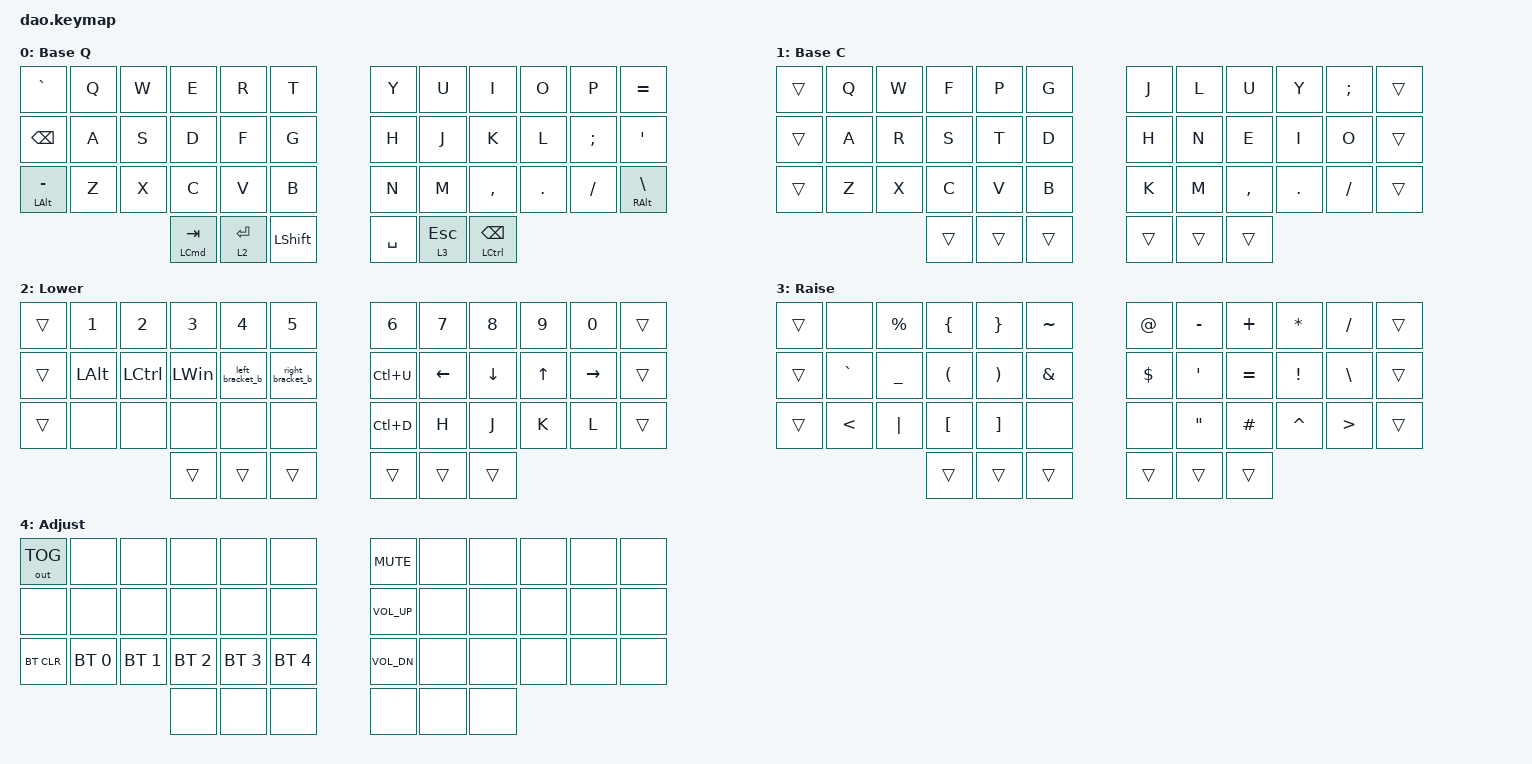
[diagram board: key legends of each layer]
/*
 * Copyright (c) 2020 The ZMK Contributors
 *
 * SPDX-License-Identifier: MIT
 */

#include <behaviors.dtsi>
#include <dt-bindings/zmk/bt.h>
#include <dt-bindings/zmk/keys.h>
#include <dt-bindings/zmk/outputs.h>

&lt {
    tapping-term-ms = <150>;
    flavor = "hold-preferred";
};

&mt {
    quick-tap-ms = <200>;
    tapping-term-ms = <150>;
};

/ {
    combos {
        compatible = "zmk,combos";

        gotoadjust {
            bindings = <&tog 4>;
            key-positions = <11 23 35>;
        };

        change_lang {
            bindings = <&change_lang>;
            key-positions = <0 12 24>;
        };
    };

    macros {
        left_bracket_b: lb {
            compatible = "zmk,behavior-macro";
            #binding-cells = <0>;
            bindings = <&kp LEFT_BRACKET &kp B>;
            label = "LB";
        };

        right_bracket_b: rb {
            compatible = "zmk,behavior-macro";
            #binding-cells = <0>;
            bindings = <&kp RIGHT_BRACKET &kp B>;
            label = "RB";
        };

        change_lang: change_lang {
            compatible = "zmk,behavior-macro";
            #binding-cells = <0>;
            bindings = <&kp LC(SPACE) &tog 1>;
            label = "CHANGE_LANG";
        };
    };

    keymap {
        compatible = "zmk,keymap";

        default_layer {
            // -----------------------------------------------------------------------------------------
            // |  TAB |  Q  |  W  |  E  |  R  |  T  |   |  Y  |  U   |  I  |  O  |  P  | BKSP |
            // | CTRL |  A  |  S  |  D  |  F  |  G  |   |  H  |  J   |  K  |  L  |  ;  |  '   |
            // | SHFT |  Z  |  X  |  C  |  V  |  B  |   |  N  |  M   |  ,  |  .  |  /  | ESC  |
            //                    | GUI | LWR | SPC |   | ENT | RSE  | ALT |

            display-name = "Base Q";
            bindings = <
&kp GRAVE           &kp Q  &kp W  &kp E                 &kp R        &kp T             &kp Y      &kp U      &kp I                       &kp O    &kp P      &kp EQUAL
&kp BACKSPACE       &kp A  &kp S  &kp D                 &kp F        &kp G             &kp H      &kp J      &kp K                       &kp L    &kp SEMI   &kp SQT
&mt LEFT_ALT MINUS  &kp Z  &kp X  &kp C                 &kp V        &kp B             &kp N      &kp M      &kp COMMA                   &kp DOT  &kp SLASH  &mt RIGHT_ALT BSLH
                                  &mt LEFT_COMMAND TAB  &lt 2 ENTER  &kp LEFT_SHIFT    &kp SPACE  &lt 3 ESC  &mt LEFT_CONTROL BACKSPACE
            >;
        };

        colemak {
            bindings = <
&trans  &kp Q  &kp W  &kp F   &kp P   &kp G     &kp J   &kp L   &kp U      &kp Y    &kp SEMI  &trans
&trans  &kp A  &kp R  &kp S   &kp T   &kp D     &kp H   &kp N   &kp E      &kp I    &kp O     &trans
&trans  &kp Z  &kp X  &kp C   &kp V   &kp B     &kp K   &kp M   &kp COMMA  &kp DOT  &kp FSLH  &trans
                      &trans  &trans  &trans    &trans  &trans  &trans
            >;

            label = "Base C";
        };

        lower_layer {
            // -----------------------------------------------------------------------------------------
            // |  TAB |  1  |  2  |  3  |  4  |  5  |   |  6  |  7  |  8  |  9  |  0  | BKSP |
            // | BTCLR| BT1 | BT2 | BT3 | BT4 | BT5 |   | LFT | DWN |  UP | RGT |     |      |
            // | SHFT |     |     |     |     |     |   |     |     |     |     |     |      |
            //                    | GUI |     | SPC |   | ENT |     | ALT |

            display-name = "Lower";
            bindings = <
&trans  &kp N1        &kp N2            &kp N3        &kp N4           &kp N5              &kp N6     &kp N7    &kp N8          &kp N9        &kp N0           &trans
&trans  &kp LEFT_ALT  &kp LEFT_CONTROL  &kp LEFT_WIN  &left_bracket_b  &right_bracket_b    &kp LC(U)  &kp LEFT  &kp DOWN_ARROW  &kp UP_ARROW  &kp RIGHT_ARROW  &trans
&trans  &none         &none             &none         &none            &none               &kp LC(D)  &kp H     &kp J           &kp K         &kp L            &trans
                                        &trans        &trans           &trans              &trans     &trans    &trans
            >;
        };

        raise_layer {
            // -----------------------------------------------------------------------------------------
            // |  TAB |  !  |  @  |  #  |  $  |  %  |   |  ^  |  &  |  *  |  (  |  )  | BKSP |
            // | CTRL |     |     |     |     |     |   |  -  |  =  |  [  |  ]  |  \  |  `   |
            // | SHFT |     |     |     |     |     |   |  _  |  +  |  {  |  }  | "|" |  ~   |
            //                    | GUI |     | SPC |   | ENT |     | ALT |

            display-name = "Raise";
            bindings = <
&trans  &none      &kp PERCENT  &kp LBRC          &kp RBRC               &kp TILDE    &kp AT    &kp MINUS  &kp PLUS   &kp STAR   &kp SLASH  &trans
&trans  &kp GRAVE  &kp UNDER    &kp LPAR          &kp RIGHT_PARENTHESIS  &kp AMPS     &kp DLLR  &kp SQT    &kp EQUAL  &kp EXCL   &kp BSLH   &trans
&trans  &kp LT     &kp PIPE     &kp LEFT_BRACKET  &kp RIGHT_BRACKET      &none        &none     &kp DQT    &kp HASH   &kp CARET  &kp GT     &trans
                                &trans            &trans                 &trans       &trans    &trans     &trans
            >;
        };

        adjust_layer {
            bindings = <
&out OUT_TOG  &none         &none         &none         &none         &none           &kp K_MUTE       &none  &none  &none  &none  &none
&none         &none         &none         &none         &none         &none           &kp C_VOLUME_UP  &none  &none  &none  &none  &none
&bt BT_CLR    &bt BT_SEL 0  &bt BT_SEL 1  &bt BT_SEL 2  &bt BT_SEL 3  &bt BT_SEL 4    &kp C_VOL_DN     &none  &none  &none  &none  &none
                                          &none         &none         &none           &none            &none  &none
            >;

            label = "Adjust";
        };
    };
};      
